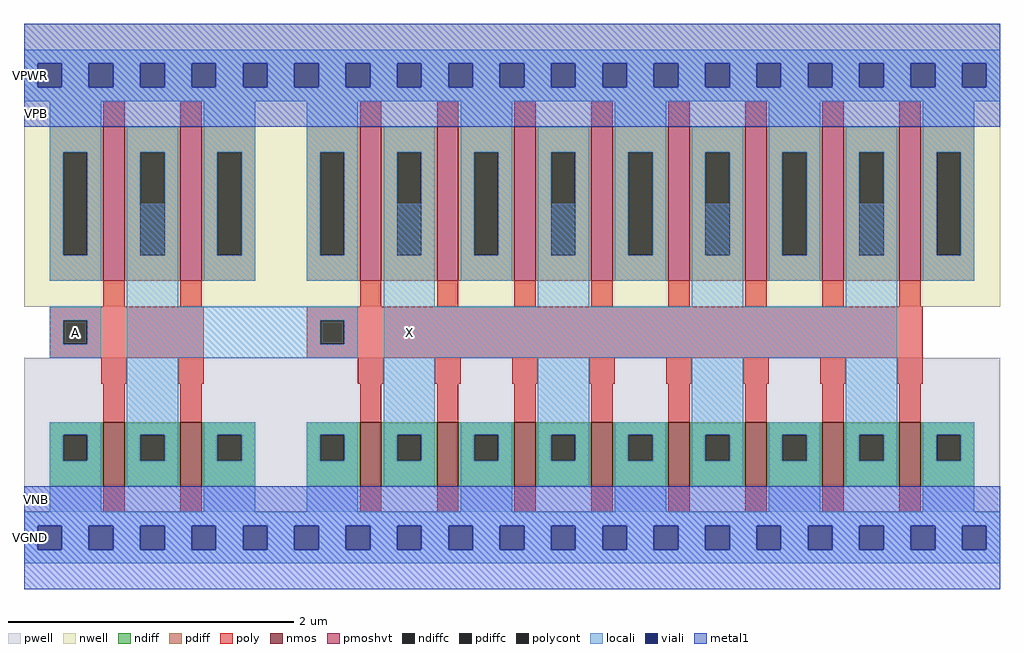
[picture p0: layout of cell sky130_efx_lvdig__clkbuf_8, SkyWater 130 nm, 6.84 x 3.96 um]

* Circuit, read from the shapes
.subckt sky130_efx_lvdig__clkbuf_8 A X VPWR VGND VPB VNB
XM1 nmos_n2f5_f1_l150_0/D0 A VGND VNB sky130_fd_pr__nfet_01v8 w=0.45 l=0.15 m=2
XM2 X nmos_n2f5_f1_l150_0/D0 VGND VNB sky130_fd_pr__nfet_01v8 w=0.45 l=0.15 m=8
XM3 nmos_n2f5_f1_l150_0/D0 A VPWR VPB sky130_fd_pr__pfet_01v8_hvt w=1.08 l=0.15 m=2
XM4 X nmos_n2f5_f1_l150_0/D0 VPWR VPB sky130_fd_pr__pfet_01v8_hvt w=1.08 l=0.15 m=8
.ends

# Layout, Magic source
magic
tech sky130A
magscale 1 2
<< nwell >>
rect 0 288 1368 684
<< pwell >>
rect 0 0 1368 216
<< poly >>
rect 36 269 252 288
rect 36 235 55 269
rect 89 235 252 269
rect 36 216 252 235
rect 396 269 1260 288
rect 396 235 415 269
rect 449 235 1260 269
rect 396 216 1260 235
rect 108 180 144 216
rect 216 180 252 216
rect 468 180 504 216
rect 576 180 612 216
rect 684 180 720 216
rect 792 180 828 216
rect 900 180 936 216
rect 1008 180 1044 216
rect 1116 180 1152 216
rect 1224 180 1260 216
<< polycont >>
rect 55 235 89 269
rect 415 235 449 269
<< locali >>
rect 0 629 1368 648
rect 0 595 19 629
rect 53 595 91 629
rect 125 595 163 629
rect 197 595 235 629
rect 269 595 307 629
rect 341 595 379 629
rect 413 595 451 629
rect 485 595 523 629
rect 557 595 595 629
rect 629 595 667 629
rect 701 595 739 629
rect 773 595 811 629
rect 845 595 883 629
rect 917 595 955 629
rect 989 595 1027 629
rect 1061 595 1099 629
rect 1133 595 1171 629
rect 1205 595 1243 629
rect 1277 595 1315 629
rect 1349 595 1368 629
rect 0 576 1368 595
rect 36 504 108 576
rect 252 504 324 576
rect 396 504 468 576
rect 612 504 684 576
rect 828 504 900 576
rect 1044 504 1116 576
rect 1260 504 1332 576
rect 144 288 216 432
rect 504 288 576 432
rect 720 288 792 432
rect 936 288 1008 432
rect 1152 288 1224 432
rect 36 269 108 288
rect 36 235 55 269
rect 89 235 108 269
rect 36 216 108 235
rect 144 269 468 288
rect 144 235 415 269
rect 449 235 468 269
rect 144 216 468 235
rect 504 216 1224 288
rect 144 108 216 216
rect 504 108 576 216
rect 720 108 792 216
rect 936 108 1008 216
rect 1152 108 1224 216
rect 36 0 108 72
rect 252 0 324 72
rect 396 0 468 72
rect 612 0 684 72
rect 828 0 900 72
rect 1044 0 1116 72
rect 1260 0 1332 72
rect 0 -19 1368 0
rect 0 -53 19 -19
rect 53 -53 91 -19
rect 125 -53 163 -19
rect 197 -53 235 -19
rect 269 -53 307 -19
rect 341 -53 379 -19
rect 413 -53 451 -19
rect 485 -53 523 -19
rect 557 -53 595 -19
rect 629 -53 667 -19
rect 701 -53 739 -19
rect 773 -53 811 -19
rect 845 -53 883 -19
rect 917 -53 955 -19
rect 989 -53 1027 -19
rect 1061 -53 1099 -19
rect 1133 -53 1171 -19
rect 1205 -53 1243 -19
rect 1277 -53 1315 -19
rect 1349 -53 1368 -19
rect 0 -72 1368 -53
<< viali >>
rect 19 595 53 629
rect 91 595 125 629
rect 163 595 197 629
rect 235 595 269 629
rect 307 595 341 629
rect 379 595 413 629
rect 451 595 485 629
rect 523 595 557 629
rect 595 595 629 629
rect 667 595 701 629
rect 739 595 773 629
rect 811 595 845 629
rect 883 595 917 629
rect 955 595 989 629
rect 1027 595 1061 629
rect 1099 595 1133 629
rect 1171 595 1205 629
rect 1243 595 1277 629
rect 1315 595 1349 629
rect 19 -53 53 -19
rect 91 -53 125 -19
rect 163 -53 197 -19
rect 235 -53 269 -19
rect 307 -53 341 -19
rect 379 -53 413 -19
rect 451 -53 485 -19
rect 523 -53 557 -19
rect 595 -53 629 -19
rect 667 -53 701 -19
rect 739 -53 773 -19
rect 811 -53 845 -19
rect 883 -53 917 -19
rect 955 -53 989 -19
rect 1027 -53 1061 -19
rect 1099 -53 1133 -19
rect 1171 -53 1205 -19
rect 1243 -53 1277 -19
rect 1315 -53 1349 -19
<< metal1 >>
rect 0 629 1368 684
rect 0 595 19 629
rect 53 595 91 629
rect 125 595 163 629
rect 197 595 235 629
rect 269 595 307 629
rect 341 595 379 629
rect 413 595 451 629
rect 485 595 523 629
rect 557 595 595 629
rect 629 595 667 629
rect 701 595 739 629
rect 773 595 811 629
rect 845 595 883 629
rect 917 595 955 629
rect 989 595 1027 629
rect 1061 595 1099 629
rect 1133 595 1171 629
rect 1205 595 1243 629
rect 1277 595 1315 629
rect 1349 595 1368 629
rect 0 540 1368 595
rect 0 -19 1368 36
rect 0 -53 19 -19
rect 53 -53 91 -19
rect 125 -53 163 -19
rect 197 -53 235 -19
rect 269 -53 307 -19
rect 341 -53 379 -19
rect 413 -53 451 -19
rect 485 -53 523 -19
rect 557 -53 595 -19
rect 629 -53 667 -19
rect 701 -53 739 -19
rect 773 -53 811 -19
rect 845 -53 883 -19
rect 917 -53 955 -19
rect 989 -53 1027 -19
rect 1061 -53 1099 -19
rect 1133 -53 1171 -19
rect 1205 -53 1243 -19
rect 1277 -53 1315 -19
rect 1349 -53 1368 -19
rect 0 -108 1368 -53
use nmos_n2f5_f1_l150  nmos_n2f5_f1_l150_0
transform 1 0 72 0 1 36
box -72 -36 180 144
use nmos_n2f5_f1_l150  nmos_n2f5_f1_l150_1
transform 1 0 180 0 1 36
box -72 -36 180 144
use nmos_n2f5_f1_l150  nmos_n2f5_f1_l150_2
transform 1 0 432 0 1 36
box -72 -36 180 144
use nmos_n2f5_f1_l150  nmos_n2f5_f1_l150_3
transform 1 0 540 0 1 36
box -72 -36 180 144
use nmos_n2f5_f1_l150  nmos_n2f5_f1_l150_4
transform 1 0 648 0 1 36
box -72 -36 180 144
use nmos_n2f5_f1_l150  nmos_n2f5_f1_l150_5
transform 1 0 756 0 1 36
box -72 -36 180 144
use nmos_n2f5_f1_l150  nmos_n2f5_f1_l150_6
transform 1 0 864 0 1 36
box -72 -36 180 144
use nmos_n2f5_f1_l150  nmos_n2f5_f1_l150_7
transform 1 0 972 0 1 36
box -72 -36 180 144
use nmos_n2f5_f1_l150  nmos_n2f5_f1_l150_8
transform 1 0 1080 0 1 36
box -72 -36 180 144
use nmos_n2f5_f1_l150  nmos_n2f5_f1_l150_9
transform 1 0 1188 0 1 36
box -72 -36 180 144
use pmos_n6_f1_l150_hvt  pmos_n6_f1_l150_hvt_0
transform 1 0 72 0 1 324
box -72 -36 180 252
use pmos_n6_f1_l150_hvt  pmos_n6_f1_l150_hvt_1
transform 1 0 180 0 1 324
box -72 -36 180 252
use pmos_n6_f1_l150_hvt  pmos_n6_f1_l150_hvt_2
transform 1 0 432 0 1 324
box -72 -36 180 252
use pmos_n6_f1_l150_hvt  pmos_n6_f1_l150_hvt_3
transform 1 0 540 0 1 324
box -72 -36 180 252
use pmos_n6_f1_l150_hvt  pmos_n6_f1_l150_hvt_4
transform 1 0 648 0 1 324
box -72 -36 180 252
use pmos_n6_f1_l150_hvt  pmos_n6_f1_l150_hvt_5
transform 1 0 756 0 1 324
box -72 -36 180 252
use pmos_n6_f1_l150_hvt  pmos_n6_f1_l150_hvt_6
transform 1 0 864 0 1 324
box -72 -36 180 252
use pmos_n6_f1_l150_hvt  pmos_n6_f1_l150_hvt_7
transform 1 0 972 0 1 324
box -72 -36 180 252
use pmos_n6_f1_l150_hvt  pmos_n6_f1_l150_hvt_8
transform 1 0 1080 0 1 324
box -72 -36 180 252
use pmos_n6_f1_l150_hvt  pmos_n6_f1_l150_hvt_9
transform 1 0 1188 0 1 324
box -72 -36 180 252
<< labels >>
flabel locali 36 216 108 288 0 FreeSans 288 0 0 0 A
port 1 nsew signal input
flabel locali 504 216 576 288 0 FreeSans 288 0 0 0 X
port 2 nsew signal output
flabel metal1 0 576 18 648 0 FreeSans 288 0 0 0 VPWR
port 3 nsew power bidirectional
flabel metal1 0 -72 18 0 0 FreeSans 288 0 0 0 VGND
port 4 nsew ground bidirectional
flabel nwell 0 540 36 576 0 FreeSans 288 0 0 0 VPB
port 5 nsew power bidirectional
flabel pwell 0 0 36 36 0 FreeSans 288 0 0 0 VNB
port 6 nsew ground bidirectional
<< properties >>
string FIXED_BBOX 0 -36 1368 612
<< end >>

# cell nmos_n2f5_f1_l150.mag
magic
tech sky130A
magscale 1 2
<< pwell >>
rect -72 -36 180 144
<< nmos >>
rect 39 0 69 90
<< ndiff >>
rect -36 72 39 90
rect -36 36 -17 72
rect 17 36 39 72
rect -36 0 39 36
rect 69 72 144 90
rect 69 36 91 72
rect 125 36 144 72
rect 69 0 144 36
<< ndiffc >>
rect -17 36 17 72
rect 91 36 125 72
<< poly >>
rect 39 90 69 144
rect 39 -36 69 0
<< locali >>
rect -36 72 36 90
rect -36 36 -17 72
rect 17 36 36 72
rect -36 0 36 36
rect 72 72 144 90
rect 72 36 91 72
rect 125 36 144 72
rect 72 0 144 36
<< labels >>
rlabel locali 0 18 0 18 0 S0
port 1 nsew
rlabel locali 108 18 108 18 0 D0
port 2 nsew
<< end >>

# cell pmos_n6_f1_l150_hvt: kit device pmos, n 6 fingers 1 length 0.15 butted 0 ltap 0 rtap 0 vt hvt tgate 0 bgate 0
